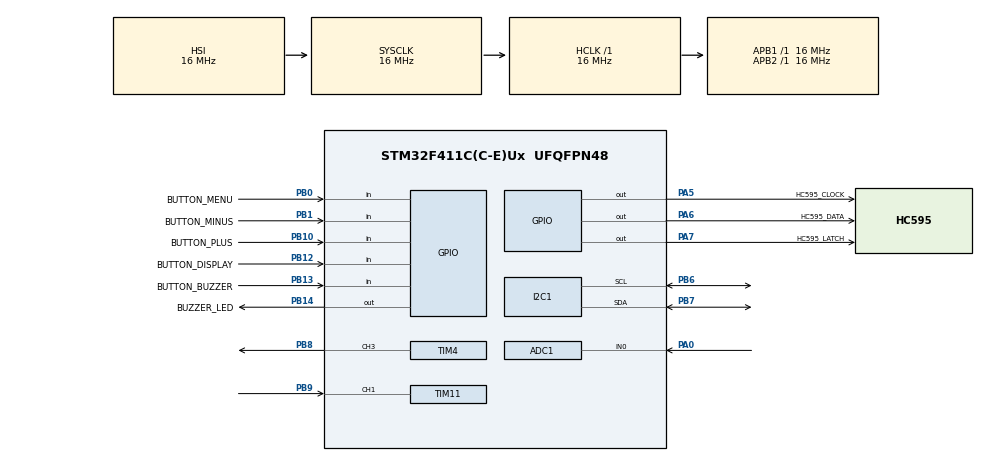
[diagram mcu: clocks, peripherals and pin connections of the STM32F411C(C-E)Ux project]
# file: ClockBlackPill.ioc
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ADC1.Channel-0\#ChannelRegularConversion=ADC_CHANNEL_0
ADC1.NbrOfConversionFlag=1
ADC1.Rank-0\#ChannelRegularConversion=1
ADC1.SamplingTime-0\#ChannelRegularConversion=ADC_SAMPLETIME_84CYCLES
ADC1.master=1
Mcu.Family=STM32F4
Mcu.Name=STM32F411C(C-E)Ux
Mcu.Package=UFQFPN48
NVIC.PriorityGroup=NVIC_PRIORITYGROUP_4
NVIC.TIM1_TRG_COM_TIM11_IRQn=true\:0\:0\:false\:false\:true\:true\:true\:true
NVIC.TIM3_IRQn=true\:1\:0\:true\:false\:true\:true\:true\:true
PA0-WKUP.Signal=ADCx_IN0
PA5.GPIO_Label=HC595_CLOCK
PA5.Signal=GPIO_Output
PA6.GPIO_Label=HC595_DATA
PA6.Signal=GPIO_Output
PA7.GPIO_Label=HC595_LATCH
PA7.Signal=GPIO_Output
PB0.GPIO_Label=BUTTON_MENU
PB0.GPIO_PuPd=GPIO_PULLUP
PB0.Signal=GPIO_Input
PB1.GPIO_Label=BUTTON_MINUS
PB1.GPIO_PuPd=GPIO_PULLUP
PB1.Signal=GPIO_Input
PB10.GPIO_Label=BUTTON_PLUS
PB10.GPIO_PuPd=GPIO_PULLUP
PB10.Signal=GPIO_Input
PB12.GPIO_Label=BUTTON_DISPLAY
PB12.GPIO_PuPd=GPIO_PULLUP
PB12.Signal=GPIO_Input
PB13.GPIO_Label=BUTTON_BUZZER
PB13.GPIO_PuPd=GPIO_PULLUP
PB13.Signal=GPIO_Input
PB14.GPIO_Label=BUZZER_LED
PB14.Signal=GPIO_Output
PB6.Mode=I2C
PB6.Signal=I2C1_SCL
PB7.Mode=I2C
PB7.Signal=I2C1_SDA
PB8.Signal=S_TIM4_CH3
PB9.Signal=S_TIM11_CH1
ProjectManager.HeapSize=0x200
ProjectManager.StackSize=0x400
ProjectManager.TargetToolchain=STM32CubeIDE
RCC.AHBFreq_Value=16000000
RCC.APB1Freq_Value=16000000
RCC.APB2Freq_Value=16000000
RCC.CortexFreq_Value=16000000
RCC.HSE_VALUE=25000000
RCC.HSI_VALUE=16000000
RCC.LSE_VALUE=32768
RCC.SYSCLKFreq_VALUE=16000000
RCC.VCOOutputFreq_Value=192000000
SH.ADCx_IN0.0=ADC1_IN0,IN0
SH.S_TIM11_CH1.0=TIM11_CH1,Input_Capture1_from_TI1
SH.S_TIM4_CH3.0=TIM4_CH3,PWM Generation3 CH3
TIM11.Channel=TIM_CHANNEL_1
TIM11.Prescaler=15
TIM3.Period=99
TIM3.Prescaler=159
TIM4.Channel-PWM\ Generation3\ CH3=TIM_CHANNEL_3
TIM4.Period=332
TIM4.Prescaler=15
TIM4.Pulse-PWM\ Generation3\ CH3=166
VP_TIM11_VS_ClockSourceINT.Mode=Enable_Timer
VP_TIM3_VS_ClockSourceINT.Mode=Internal
board=custom

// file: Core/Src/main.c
/* USER CODE BEGIN Header */
/**
 ******************************************************************************
 * @file           : main.c
 * @brief          : Main program body
 ******************************************************************************
 * @attention
 *
 * Copyright (c) 2026 STMicroelectronics.
 * All rights reserved.
 *
 * This software is licensed under terms that can be found in the LICENSE file
 * in the root directory of this software component.
 * If no LICENSE file comes with this software, it is provided AS-IS.
 *
 ******************************************************************************
 */
/* USER CODE END Header */
#include "main.h"

/* USER CODE BEGIN Includes */
#include "hc595_leds.h"
#include "clock.h"
#include "buttons.h"
#include "display.h"
#include "buzzer.h"
#include "dht11.h"
#include "ldr.h"
#include "settings.h"

/* USER CODE END Includes */

ADC_HandleTypeDef hadc1;

I2C_HandleTypeDef hi2c1;

TIM_HandleTypeDef htim3;
TIM_HandleTypeDef htim4;
TIM_HandleTypeDef htim11;

void SystemClock_Config(void);
static void MX_GPIO_Init(void);
static void MX_I2C1_Init(void);
static void MX_TIM3_Init(void);
static void MX_TIM4_Init(void);
static void MX_ADC1_Init(void);
static void MX_TIM11_Init(void);

int main(void)
{

  /* MCU Configuration--------------------------------------------------------*/

  /* Reset of all peripherals, Initializes the Flash interface and the Systick. */
  HAL_Init();

  /* Configure the system clock */
  SystemClock_Config();

  /* Initialize all configured peripherals */
  MX_GPIO_Init();
  MX_I2C1_Init();
  MX_TIM3_Init();
  MX_TIM4_Init();
  MX_ADC1_Init();
  MX_TIM11_Init();
  /* USER CODE BEGIN 2 */
	Settings_Init();
	DHT11_Init();
	LDR_Init();
	LEDs_Init();
	LEDs_SetDarkMode((LDR_IsLight() == 0U) ? 1U : 0U);
	Buttons_Init();
	Display_Init();
	Buzzer_Init();
	if (HAL_TIM_Base_Start_IT(&htim3) != HAL_OK) {
		Error_Handler();
	}
	Clock_Init();

  /* USER CODE END 2 */

  /* Infinite loop */
  /* USER CODE BEGIN WHILE */
	while (1) {
		Clock_Update();
		DHT11_Update();
		if (LDR_Update() != 0U) {
			LEDs_SetDarkMode((LDR_IsLight() == 0U) ? 1U : 0U);
			Clock_RefreshDisplay();
		}
		ButtonEvent_t buttonEvent = Buttons_GetEvent();
		Clock_HandleButton(buttonEvent);
    /* USER CODE END WHILE */

	}
}

void SystemClock_Config(void)
{
  RCC_OscInitTypeDef RCC_OscInitStruct = {0};
  RCC_ClkInitTypeDef RCC_ClkInitStruct = {0};

  /** Configure the main internal regulator output voltage
  */
  __HAL_RCC_PWR_CLK_ENABLE();
  __HAL_PWR_VOLTAGESCALING_CONFIG(PWR_REGULATOR_VOLTAGE_SCALE1);

  /** Initializes the RCC Oscillators according to the specified parameters
  * in the RCC_OscInitTypeDef structure.
  */
  RCC_OscInitStruct.OscillatorType = RCC_OSCILLATORTYPE_HSI;
  RCC_OscInitStruct.HSIState = RCC_HSI_ON;
  RCC_OscInitStruct.HSICalibrationValue = RCC_HSICALIBRATION_DEFAULT;
  RCC_OscInitStruct.PLL.PLLState = RCC_PLL_NONE;
  if (HAL_RCC_OscConfig(&RCC_OscInitStruct) != HAL_OK)
  {
    Error_Handler();
  }

  /** Initializes the CPU, AHB and APB buses clocks
  */
  RCC_ClkInitStruct.ClockType = RCC_CLOCKTYPE_HCLK|RCC_CLOCKTYPE_SYSCLK
                              |RCC_CLOCKTYPE_PCLK1|RCC_CLOCKTYPE_PCLK2;
  RCC_ClkInitStruct.SYSCLKSource = RCC_SYSCLKSOURCE_HSI;
  RCC_ClkInitStruct.AHBCLKDivider = RCC_SYSCLK_DIV1;
  RCC_ClkInitStruct.APB1CLKDivider = RCC_HCLK_DIV1;
  RCC_ClkInitStruct.APB2CLKDivider = RCC_HCLK_DIV1;

  if (HAL_RCC_ClockConfig(&RCC_ClkInitStruct, FLASH_LATENCY_0) != HAL_OK)
  {
    Error_Handler();
  }
}

static void MX_ADC1_Init(void)
{

  ADC_ChannelConfTypeDef sConfig = {0};

  /** Configure the global features of the ADC (Clock, Resolution, Data Alignment and number of conversion)
  */
  hadc1.Instance = ADC1;
  hadc1.Init.ClockPrescaler = ADC_CLOCK_SYNC_PCLK_DIV2;
  hadc1.Init.Resolution = ADC_RESOLUTION_12B;
  hadc1.Init.ScanConvMode = DISABLE;
  hadc1.Init.ContinuousConvMode = DISABLE;
  hadc1.Init.DiscontinuousConvMode = DISABLE;
  hadc1.Init.ExternalTrigConvEdge = ADC_EXTERNALTRIGCONVEDGE_NONE;
  hadc1.Init.ExternalTrigConv = ADC_SOFTWARE_START;
  hadc1.Init.DataAlign = ADC_DATAALIGN_RIGHT;
  hadc1.Init.NbrOfConversion = 1;
  hadc1.Init.DMAContinuousRequests = DISABLE;
  hadc1.Init.EOCSelection = ADC_EOC_SINGLE_CONV;
  if (HAL_ADC_Init(&hadc1) != HAL_OK)
  {
    Error_Handler();
  }

  /** Configure for the selected ADC regular channel its corresponding rank in the sequencer and its sample time.
  */
  sConfig.Channel = ADC_CHANNEL_0;
  sConfig.Rank = 1;
  sConfig.SamplingTime = ADC_SAMPLETIME_84CYCLES;
  if (HAL_ADC_ConfigChannel(&hadc1, &sConfig) != HAL_OK)
  {
    Error_Handler();
  }

}

static void MX_I2C1_Init(void)
{

  hi2c1.Instance = I2C1;
  hi2c1.Init.ClockSpeed = 100000;
  hi2c1.Init.DutyCycle = I2C_DUTYCYCLE_2;
  hi2c1.Init.OwnAddress1 = 0;
  hi2c1.Init.AddressingMode = I2C_ADDRESSINGMODE_7BIT;
  hi2c1.Init.DualAddressMode = I2C_DUALADDRESS_DISABLE;
  hi2c1.Init.OwnAddress2 = 0;
  hi2c1.Init.GeneralCallMode = I2C_GENERALCALL_DISABLE;
  hi2c1.Init.NoStretchMode = I2C_NOSTRETCH_DISABLE;
  if (HAL_I2C_Init(&hi2c1) != HAL_OK)
  {
    Error_Handler();
  }

}

static void MX_TIM3_Init(void)
{

  TIM_ClockConfigTypeDef sClockSourceConfig = {0};
  TIM_MasterConfigTypeDef sMasterConfig = {0};

  htim3.Instance = TIM3;
  htim3.Init.Prescaler = 159;
  htim3.Init.CounterMode = TIM_COUNTERMODE_UP;
  htim3.Init.Period = 99;
  htim3.Init.ClockDivision = TIM_CLOCKDIVISION_DIV1;
  htim3.Init.AutoReloadPreload = TIM_AUTORELOAD_PRELOAD_DISABLE;
  if (HAL_TIM_Base_Init(&htim3) != HAL_OK)
  {
    Error_Handler();
  }
  sClockSourceConfig.ClockSource = TIM_CLOCKSOURCE_INTERNAL;
  if (HAL_TIM_ConfigClockSource(&htim3, &sClockSourceConfig) != HAL_OK)
  {
    Error_Handler();
  }
  sMasterConfig.MasterOutputTrigger = TIM_TRGO_RESET;
  sMasterConfig.MasterSlaveMode = TIM_MASTERSLAVEMODE_DISABLE;
  if (HAL_TIMEx_MasterConfigSynchronization(&htim3, &sMasterConfig) != HAL_OK)
  {
    Error_Handler();
  }

}

static void MX_TIM4_Init(void)
{

  TIM_MasterConfigTypeDef sMasterConfig = {0};
  TIM_OC_InitTypeDef sConfigOC = {0};

  htim4.Instance = TIM4;
  htim4.Init.Prescaler = 15;
  htim4.Init.CounterMode = TIM_COUNTERMODE_UP;
  htim4.Init.Period = 332;
  htim4.Init.ClockDivision = TIM_CLOCKDIVISION_DIV1;
  htim4.Init.AutoReloadPreload = TIM_AUTORELOAD_PRELOAD_DISABLE;
  if (HAL_TIM_PWM_Init(&htim4) != HAL_OK)
  {
    Error_Handler();
  }
  sMasterConfig.MasterOutputTrigger = TIM_TRGO_RESET;
  sMasterConfig.MasterSlaveMode = TIM_MASTERSLAVEMODE_DISABLE;
  if (HAL_TIMEx_MasterConfigSynchronization(&htim4, &sMasterConfig) != HAL_OK)
  {
    Error_Handler();
  }
  sConfigOC.OCMode = TIM_OCMODE_PWM1;
  sConfigOC.Pulse = 166;
  sConfigOC.OCPolarity = TIM_OCPOLARITY_HIGH;
  sConfigOC.OCFastMode = TIM_OCFAST_DISABLE;
  if (HAL_TIM_PWM_ConfigChannel(&htim4, &sConfigOC, TIM_CHANNEL_3) != HAL_OK)
  {
    Error_Handler();
  }
  HAL_TIM_MspPostInit(&htim4);

}

static void MX_TIM11_Init(void)
{

  TIM_IC_InitTypeDef sConfigIC = {0};

  htim11.Instance = TIM11;
  htim11.Init.Prescaler = 15;
  htim11.Init.CounterMode = TIM_COUNTERMODE_UP;
  htim11.Init.Period = 65535;
  htim11.Init.ClockDivision = TIM_CLOCKDIVISION_DIV1;
  htim11.Init.AutoReloadPreload = TIM_AUTORELOAD_PRELOAD_DISABLE;
  if (HAL_TIM_Base_Init(&htim11) != HAL_OK)
  {
    Error_Handler();
  }
  if (HAL_TIM_IC_Init(&htim11) != HAL_OK)
  {
    Error_Handler();
  }
  sConfigIC.ICPolarity = TIM_INPUTCHANNELPOLARITY_RISING;
  sConfigIC.ICSelection = TIM_ICSELECTION_DIRECTTI;
  sConfigIC.ICPrescaler = TIM_ICPSC_DIV1;
  sConfigIC.ICFilter = 0;
  if (HAL_TIM_IC_ConfigChannel(&htim11, &sConfigIC, TIM_CHANNEL_1) != HAL_OK)
  {
    Error_Handler();
  }

}

static void MX_GPIO_Init(void)
{
  GPIO_InitTypeDef GPIO_InitStruct = {0};

  /* GPIO Ports Clock Enable */
  __HAL_RCC_GPIOA_CLK_ENABLE();
  __HAL_RCC_GPIOB_CLK_ENABLE();

  /*Configure GPIO pin Output Level */
  HAL_GPIO_WritePin(GPIOA, HC595_CLOCK_Pin|HC595_DATA_Pin|HC595_LATCH_Pin, GPIO_PIN_RESET);

  /*Configure GPIO pin Output Level */
  HAL_GPIO_WritePin(BUZZER_LED_GPIO_Port, BUZZER_LED_Pin, GPIO_PIN_RESET);

  /*Configure GPIO pins : HC595_CLOCK_Pin HC595_DATA_Pin HC595_LATCH_Pin */
  GPIO_InitStruct.Pin = HC595_CLOCK_Pin|HC595_DATA_Pin|HC595_LATCH_Pin;
  GPIO_InitStruct.Mode = GPIO_MODE_OUTPUT_PP;
  GPIO_InitStruct.Pull = GPIO_NOPULL;
  GPIO_InitStruct.Speed = GPIO_SPEED_FREQ_LOW;
  HAL_GPIO_Init(GPIOA, &GPIO_InitStruct);

  /*Configure GPIO pins : BUTTON_MENU_Pin BUTTON_MINUS_Pin BUTTON_PLUS_Pin BUTTON_DISPLAY_Pin
                           BUTTON_BUZZER_Pin */
  GPIO_InitStruct.Pin = BUTTON_MENU_Pin|BUTTON_MINUS_Pin|BUTTON_PLUS_Pin|BUTTON_DISPLAY_Pin
                          |BUTTON_BUZZER_Pin;
  GPIO_InitStruct.Mode = GPIO_MODE_INPUT;
  GPIO_InitStruct.Pull = GPIO_PULLUP;
  HAL_GPIO_Init(GPIOB, &GPIO_InitStruct);

  /*Configure GPIO pin : BUZZER_LED_Pin */
  GPIO_InitStruct.Pin = BUZZER_LED_Pin;
  GPIO_InitStruct.Mode = GPIO_MODE_OUTPUT_PP;
  GPIO_InitStruct.Pull = GPIO_NOPULL;
  GPIO_InitStruct.Speed = GPIO_SPEED_FREQ_LOW;
  HAL_GPIO_Init(BUZZER_LED_GPIO_Port, &GPIO_InitStruct);

}

/* USER CODE BEGIN 4 */
void HAL_TIM_PeriodElapsedCallback(TIM_HandleTypeDef *htim) {
	if (htim->Instance == TIM3) {
		LEDs_TimerCallback();
		Buzzer_TimerCallback();
	}
}

void HAL_TIM_IC_CaptureCallback(TIM_HandleTypeDef *htim) {
	if (htim->Instance == TIM11) {
		DHT11_CaptureCallback();
	}
}

/* USER CODE END 4 */

void Error_Handler(void)
{
	__disable_irq();
	while (1) {
	}
}
